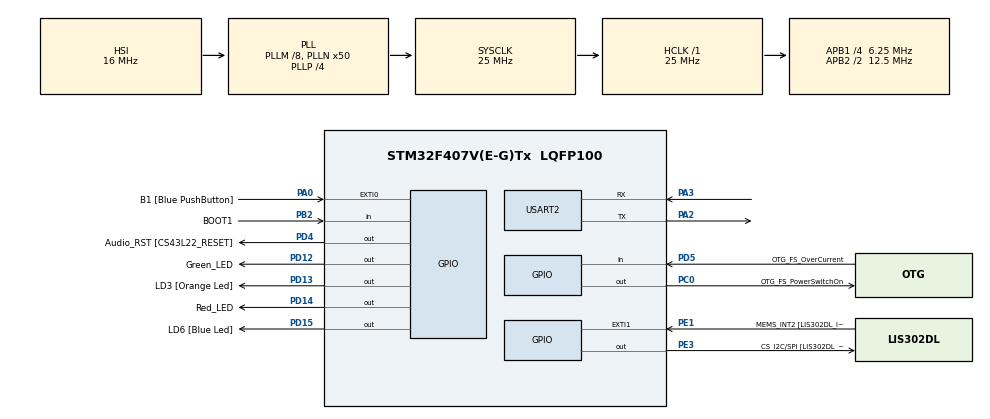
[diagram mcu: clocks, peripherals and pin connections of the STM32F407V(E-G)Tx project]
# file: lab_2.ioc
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Mcu.Family=STM32F4
Mcu.Name=STM32F407V(E-G)Tx
Mcu.Package=LQFP100
NVIC.PriorityGroup=NVIC_PRIORITYGROUP_4
NVIC.TIM7_IRQn=true\:15\:0\:false\:false\:true\:false\:true\:true
NVIC.TimeBase=TIM7_IRQn
NVIC.TimeBaseIP=TIM7
PA0-WKUP.GPIO_Label=B1 [Blue PushButton]
PA0-WKUP.Signal=GPXTI0
PA10.GPIO_Label=OTG_FS_ID
PA10.GPIO_Mode=GPIO_MODE_AF_PP
PA10.GPIO_PuPd=GPIO_NOPULL
PA10.GPIO_Speed=GPIO_SPEED_FREQ_LOW
PA10.Signal=USB_OTG_FS_ID
PA11.GPIO_Label=OTG_FS_DM
PA11.GPIO_Mode=GPIO_MODE_AF_PP
PA11.GPIO_PuPd=GPIO_NOPULL
PA11.GPIO_Speed=GPIO_SPEED_FREQ_LOW
PA11.Signal=USB_OTG_FS_DM
PA12.GPIO_Label=OTG_FS_DP
PA12.GPIO_Mode=GPIO_MODE_AF_PP
PA12.GPIO_PuPd=GPIO_NOPULL
PA12.GPIO_Speed=GPIO_SPEED_FREQ_LOW
PA12.Signal=USB_OTG_FS_DP
PA13.GPIO_Label=SWDIO
PA13.Mode=Serial_Wire
PA13.Signal=SYS_JTMS-SWDIO
PA14.GPIO_Label=SWCLK
PA14.Mode=Serial_Wire
PA14.Signal=SYS_JTCK-SWCLK
PA2.Mode=Asynchronous
PA2.Signal=USART2_TX
PA3.Mode=Asynchronous
PA3.Signal=USART2_RX
PA4.GPIO_Label=I2S3_WS [CS43L22_LRCK]
PA4.GPIO_Mode=GPIO_MODE_AF_PP
PA4.GPIO_PuPd=GPIO_NOPULL
PA4.GPIO_Speed=GPIO_SPEED_FREQ_LOW
PA4.Signal=I2S3_WS
PA5.GPIO_Label=SPI1_SCK [LIS302DL_SCL/SPC]
PA5.GPIO_Mode=GPIO_MODE_AF_PP
PA5.GPIO_PuPd=GPIO_NOPULL
PA5.GPIO_Speed=GPIO_SPEED_FREQ_LOW
PA5.Signal=SPI1_SCK
PA6.GPIO_Label=SPI1_MISO [LIS302DL_SDO]
PA6.GPIO_Mode=GPIO_MODE_AF_PP
PA6.GPIO_PuPd=GPIO_NOPULL
PA6.GPIO_Speed=GPIO_SPEED_FREQ_LOW
PA6.Signal=SPI1_MISO
PA7.GPIO_Label=SPI1_MOSI [LIS302DL_SDA/SDI/SDO]
PA7.GPIO_Mode=GPIO_MODE_AF_PP
PA7.GPIO_PuPd=GPIO_NOPULL
PA7.GPIO_Speed=GPIO_SPEED_FREQ_LOW
PA7.Signal=SPI1_MOSI
PA9.GPIO_Label=VBUS_FS
PA9.GPIO_Mode=GPIO_MODE_INPUT
PA9.GPIO_PuPd=GPIO_NOPULL
PA9.Signal=USB_OTG_FS_VBUS
PB10.GPIO_Label=CLK_IN [MP45DT02_CLK]
PB10.GPIO_Mode=GPIO_MODE_AF_PP
PB10.GPIO_PuPd=GPIO_NOPULL
PB10.GPIO_Speed=GPIO_SPEED_FREQ_LOW
PB10.Signal=I2S2_CK
PB2.GPIO_Label=BOOT1
PB2.GPIO_Mode=GPIO_MODE_INPUT
PB2.GPIO_PuPd=GPIO_NOPULL
PB2.Signal=GPIO_Input
PB3.GPIO_Label=SWO
PB3.Signal=SYS_JTDO-SWO
PB6.GPIO_Label=Audio_SCL [CS43L22_SCL]
PB6.GPIO_Mode=GPIO_MODE_AF_OD
PB6.GPIO_PuPd=GPIO_NOPULL
PB6.GPIO_Speed=GPIO_SPEED_FREQ_LOW
PB6.Signal=I2C1_SCL
PB9.GPIO_Label=Audio_SDA [CS43L22_SDA]
PB9.GPIO_Mode=GPIO_MODE_AF_OD
PB9.GPIO_PuPd=GPIO_NOPULL
PB9.GPIO_Speed=GPIO_SPEED_FREQ_LOW
PB9.Signal=I2C1_SDA
PC0.GPIO_Label=OTG_FS_PowerSwitchOn
PC0.GPIO_PuPd=GPIO_NOPULL
PC0.GPIO_Speed=GPIO_SPEED_FREQ_LOW
PC0.PinState=GPIO_PIN_SET
PC0.Signal=GPIO_Output
PC10.GPIO_Label=I2S3_SCK [CS43L22_SCLK]
PC10.GPIO_Mode=GPIO_MODE_AF_PP
PC10.GPIO_PuPd=GPIO_NOPULL
PC10.GPIO_Speed=GPIO_SPEED_FREQ_LOW
PC10.Signal=I2S3_CK
PC12.GPIO_Label=I2S3_SD [CS43L22_SDIN]
PC12.GPIO_Mode=GPIO_MODE_AF_PP
PC12.GPIO_PuPd=GPIO_NOPULL
PC12.GPIO_Speed=GPIO_SPEED_FREQ_LOW
PC12.Signal=I2S3_SD
PC14-OSC32_IN.GPIO_Label=PC14-OSC32_IN
PC14-OSC32_IN.Signal=RCC_OSC32_IN
PC15-OSC32_OUT.GPIO_Label=PC15-OSC32_OUT
PC15-OSC32_OUT.Signal=RCC_OSC32_OUT
PC3.GPIO_Label=PDM_OUT [MP45DT02_DOUT]
PC3.GPIO_Mode=GPIO_MODE_AF_PP
PC3.GPIO_PuPd=GPIO_NOPULL
PC3.GPIO_Speed=GPIO_SPEED_FREQ_LOW
PC3.Signal=I2S2_SD
PC7.GPIO_Label=I2S3_MCK [CS43L22_MCLK]
PC7.GPIO_Mode=GPIO_MODE_AF_PP
PC7.GPIO_PuPd=GPIO_NOPULL
PC7.GPIO_Speed=GPIO_SPEED_FREQ_LOW
PC7.Signal=I2S3_MCK
PD12.GPIO_Label=Green_LED
PD12.GPIO_PuPd=GPIO_NOPULL
PD12.GPIO_Speed=GPIO_SPEED_FREQ_LOW
PD12.Signal=GPIO_Output
PD13.GPIO_Label=LD3 [Orange Led]
PD13.GPIO_PuPd=GPIO_NOPULL
PD13.GPIO_Speed=GPIO_SPEED_FREQ_LOW
PD13.Signal=GPIO_Output
PD14.GPIO_Label=Red_LED
PD14.GPIO_PuPd=GPIO_NOPULL
PD14.GPIO_Speed=GPIO_SPEED_FREQ_LOW
PD14.Signal=GPIO_Output
PD15.GPIO_Label=LD6 [Blue Led]
PD15.GPIO_PuPd=GPIO_NOPULL
PD15.GPIO_Speed=GPIO_SPEED_FREQ_LOW
PD15.Signal=GPIO_Output
PD4.GPIO_Label=Audio_RST [CS43L22_RESET]
PD4.GPIO_PuPd=GPIO_NOPULL
PD4.GPIO_Speed=GPIO_SPEED_FREQ_LOW
PD4.Signal=GPIO_Output
PD5.GPIO_Label=OTG_FS_OverCurrent
PD5.GPIO_Mode=GPIO_MODE_INPUT
PD5.GPIO_PuPd=GPIO_NOPULL
PD5.Signal=GPIO_Input
PE1.GPIO_Label=MEMS_INT2 [LIS302DL_INT2]
PE1.GPIO_ModeDefaultEXTI=GPIO_MODE_EVT_RISING
PE1.GPIO_PuPd=GPIO_NOPULL
PE1.Signal=GPXTI1
PE3.GPIO_Label=CS_I2C/SPI [LIS302DL_CS_I2C/SPI]
PE3.GPIO_PuPd=GPIO_NOPULL
PE3.GPIO_Speed=GPIO_SPEED_FREQ_LOW
PE3.Signal=GPIO_Output
PH0-OSC_IN.GPIO_Label=PH0-OSC_IN
PH0-OSC_IN.Signal=RCC_OSC_IN
PH1-OSC_OUT.GPIO_Label=PH1-OSC_OUT
PH1-OSC_OUT.Signal=RCC_OSC_OUT
ProjectManager.HeapSize=0x200
ProjectManager.StackSize=0x400
ProjectManager.TargetToolchain=STM32CubeIDE
RCC.48MHZClocksFreq_Value=14285714.285714285
RCC.AHBFreq_Value=25000000
RCC.APB1CLKDivider=RCC_HCLK_DIV4
RCC.APB1Freq_Value=6250000
RCC.APB1TimFreq_Value=12500000
RCC.APB2CLKDivider=RCC_HCLK_DIV2
RCC.APB2Freq_Value=12500000
RCC.APB2TimFreq_Value=25000000
RCC.CortexFreq_Value=25000000
RCC.HCLKFreq_Value=25000000
RCC.HSE_VALUE=8000000
RCC.HSI_VALUE=16000000
RCC.LSE_VALUE=32768
RCC.PLLM=8
RCC.PLLN=50
RCC.PLLP=RCC_PLLP_DIV4
RCC.PLLQ=7
RCC.SYSCLKFreq_VALUE=25000000
RCC.SYSCLKSource=RCC_SYSCLKSOURCE_PLLCLK
RCC.VCOOutputFreq_Value=100000000
USART2.VirtualMode=VM_ASYNC
VP_SYS_VS_tim7.Mode=TIM7
board=STM32F407G-DISC1

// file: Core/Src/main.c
/* USER CODE BEGIN Header */
/**
  ******************************************************************************
  * @file           : main.c
  * @brief          : Main program body
  ******************************************************************************
  * @attention
  *
  * Copyright (c) 2025 STMicroelectronics.
  * All rights reserved.
  *
  * This software is licensed under terms that can be found in the LICENSE file
  * in the root directory of this software component.
  * If no LICENSE file comes with this software, it is provided AS-IS.
  *
  ******************************************************************************
  */
/* USER CODE END Header */
#include "main.h"

/* USER CODE BEGIN Includes */
#include "FreeRTOS.h"
#include "task.h"
/* USER CODE END Includes */

UART_HandleTypeDef huart2;

void SystemClock_Config(void);
static void MX_GPIO_Init(void);
static void MX_USART2_UART_Init(void);
void TaskMonitor_App(void *pvParameters);
void Red_LED_App(void *pvParameters);
void Green_LED_App(void *pvParameters);
void Delay_App(void *pvParameters);

/* USER CODE BEGIN 0 */
void TaskMonitor_App(void *pvParameters)
{
  for(;;)
  {
    Taskmonitor();
    vTaskDelay(1000);
  }
}

void Red_LED_App(void *pvParameters)
{
  uint32_t Redtimer = 800;
   for(;;)
   {
     HAL_GPIO_TogglePin(GPIOD,Red_LED_Pin);
     vTaskDelay(Redtimer);
     Redtimer+=1;
   }
 }

void Green_LED_App(void *pvParameters)
{
  uint32_t Greentimer = 1000;
  for(;;)
  {
    HAL_GPIO_TogglePin(GPIOD,Green_LED_Pin);
    vTaskDelay(Greentimer);
    Greentimer+=2;
  }
}

void Delay_App(void *pvParameters)
{
  int delayflag=0;
  uint32_t delaytime;
  while(1)
  {
    if(delayflag==0)
    {
      delaytime = 1000;
	  delayflag=1;
	}
    else
    {
      delaytime=0xFFFFFFFF;
    }
    vTaskDelay(delaytime);
  }
}

/* USER CODE END 0 */

int main(void)
{

  /* MCU Configuration--------------------------------------------------------*/

  /* Reset of all peripherals, Initializes the Flash interface and the Systick. */
  HAL_Init();

  /* Configure the system clock */
  SystemClock_Config();

  /* Initialize all configured peripherals */
  MX_GPIO_Init();
  MX_USART2_UART_Init();
  /* USER CODE BEGIN 2 */
  TaskHandle_t xTaskMonitorAPPHandle= NULL;
  TaskHandle_t xTaskRedLEDAPPHandle = NULL;
  TaskHandle_t xTaskGreenLEDAPPHandle = NULL;
  TaskHandle_t xTaskDelayAPPHandle = NULL;
  xTaskCreate(TaskMonitor_App, "TaskMonitor_App", 512, NULL,3, &xTaskMonitorAPPHandle);
  xTaskCreate(Red_LED_App, "Red_LED_App", 128, NULL, 1, &xTaskRedLEDAPPHandle);
  xTaskCreate(Green_LED_App, "Green_LED_App", 128, NULL, 1, &xTaskGreenLEDAPPHandle);
  xTaskCreate(Delay_App, "Delay_App", 128, NULL, 14, &xTaskDelayAPPHandle);
  vTaskStartScheduler();
  /* USER CODE END 2 */

  /* Infinite loop */
  while (1)
  {

  }
}

void SystemClock_Config(void)
{
  RCC_OscInitTypeDef RCC_OscInitStruct = {0};
  RCC_ClkInitTypeDef RCC_ClkInitStruct = {0};

  /** Configure the main internal regulator output voltage
  */
  __HAL_RCC_PWR_CLK_ENABLE();
  __HAL_PWR_VOLTAGESCALING_CONFIG(PWR_REGULATOR_VOLTAGE_SCALE1);

  /** Initializes the RCC Oscillators according to the specified parameters
  * in the RCC_OscInitTypeDef structure.
  */
  RCC_OscInitStruct.OscillatorType = RCC_OSCILLATORTYPE_HSI;
  RCC_OscInitStruct.HSIState = RCC_HSI_ON;
  RCC_OscInitStruct.HSICalibrationValue = RCC_HSICALIBRATION_DEFAULT;
  RCC_OscInitStruct.PLL.PLLState = RCC_PLL_ON;
  RCC_OscInitStruct.PLL.PLLSource = RCC_PLLSOURCE_HSI;
  RCC_OscInitStruct.PLL.PLLM = 8;
  RCC_OscInitStruct.PLL.PLLN = 50;
  RCC_OscInitStruct.PLL.PLLP = RCC_PLLP_DIV4;
  RCC_OscInitStruct.PLL.PLLQ = 7;
  if (HAL_RCC_OscConfig(&RCC_OscInitStruct) != HAL_OK)
  {
    Error_Handler();
  }

  /** Initializes the CPU, AHB and APB buses clocks
  */
  RCC_ClkInitStruct.ClockType = RCC_CLOCKTYPE_HCLK|RCC_CLOCKTYPE_SYSCLK
                              |RCC_CLOCKTYPE_PCLK1|RCC_CLOCKTYPE_PCLK2;
  RCC_ClkInitStruct.SYSCLKSource = RCC_SYSCLKSOURCE_PLLCLK;
  RCC_ClkInitStruct.AHBCLKDivider = RCC_SYSCLK_DIV1;
  RCC_ClkInitStruct.APB1CLKDivider = RCC_HCLK_DIV4;
  RCC_ClkInitStruct.APB2CLKDivider = RCC_HCLK_DIV2;

  if (HAL_RCC_ClockConfig(&RCC_ClkInitStruct, FLASH_LATENCY_0) != HAL_OK)
  {
    Error_Handler();
  }
}

static void MX_USART2_UART_Init(void)
{

  huart2.Instance = USART2;
  huart2.Init.BaudRate = 115200;
  huart2.Init.WordLength = UART_WORDLENGTH_8B;
  huart2.Init.StopBits = UART_STOPBITS_1;
  huart2.Init.Parity = UART_PARITY_NONE;
  huart2.Init.Mode = UART_MODE_TX_RX;
  huart2.Init.HwFlowCtl = UART_HWCONTROL_NONE;
  huart2.Init.OverSampling = UART_OVERSAMPLING_16;
  if (HAL_UART_Init(&huart2) != HAL_OK)
  {
    Error_Handler();
  }

}

static void MX_GPIO_Init(void)
{
  GPIO_InitTypeDef GPIO_InitStruct = {0};

  /* GPIO Ports Clock Enable */
  __HAL_RCC_GPIOE_CLK_ENABLE();
  __HAL_RCC_GPIOC_CLK_ENABLE();
  __HAL_RCC_GPIOH_CLK_ENABLE();
  __HAL_RCC_GPIOA_CLK_ENABLE();
  __HAL_RCC_GPIOB_CLK_ENABLE();
  __HAL_RCC_GPIOD_CLK_ENABLE();

  /*Configure GPIO pin Output Level */
  HAL_GPIO_WritePin(CS_I2C_SPI_GPIO_Port, CS_I2C_SPI_Pin, GPIO_PIN_RESET);

  /*Configure GPIO pin Output Level */
  HAL_GPIO_WritePin(OTG_FS_PowerSwitchOn_GPIO_Port, OTG_FS_PowerSwitchOn_Pin, GPIO_PIN_SET);

  /*Configure GPIO pin Output Level */
  HAL_GPIO_WritePin(GPIOD, Green_LED_Pin|LD3_Pin|Red_LED_Pin|LD6_Pin
                          |Audio_RST_Pin, GPIO_PIN_RESET);

  /*Configure GPIO pin : CS_I2C_SPI_Pin */
  GPIO_InitStruct.Pin = CS_I2C_SPI_Pin;
  GPIO_InitStruct.Mode = GPIO_MODE_OUTPUT_PP;
  GPIO_InitStruct.Pull = GPIO_NOPULL;
  GPIO_InitStruct.Speed = GPIO_SPEED_FREQ_LOW;
  HAL_GPIO_Init(CS_I2C_SPI_GPIO_Port, &GPIO_InitStruct);

  /*Configure GPIO pin : OTG_FS_PowerSwitchOn_Pin */
  GPIO_InitStruct.Pin = OTG_FS_PowerSwitchOn_Pin;
  GPIO_InitStruct.Mode = GPIO_MODE_OUTPUT_PP;
  GPIO_InitStruct.Pull = GPIO_NOPULL;
  GPIO_InitStruct.Speed = GPIO_SPEED_FREQ_LOW;
  HAL_GPIO_Init(OTG_FS_PowerSwitchOn_GPIO_Port, &GPIO_InitStruct);

  /*Configure GPIO pin : PDM_OUT_Pin */
  GPIO_InitStruct.Pin = PDM_OUT_Pin;
  GPIO_InitStruct.Mode = GPIO_MODE_AF_PP;
  GPIO_InitStruct.Pull = GPIO_NOPULL;
  GPIO_InitStruct.Speed = GPIO_SPEED_FREQ_LOW;
  GPIO_InitStruct.Alternate = GPIO_AF5_SPI2;
  HAL_GPIO_Init(PDM_OUT_GPIO_Port, &GPIO_InitStruct);

  /*Configure GPIO pin : B1_Pin */
  GPIO_InitStruct.Pin = B1_Pin;
  GPIO_InitStruct.Mode = GPIO_MODE_IT_RISING;
  GPIO_InitStruct.Pull = GPIO_NOPULL;
  HAL_GPIO_Init(B1_GPIO_Port, &GPIO_InitStruct);

  /*Configure GPIO pin : I2S3_WS_Pin */
  GPIO_InitStruct.Pin = I2S3_WS_Pin;
  GPIO_InitStruct.Mode = GPIO_MODE_AF_PP;
  GPIO_InitStruct.Pull = GPIO_NOPULL;
  GPIO_InitStruct.Speed = GPIO_SPEED_FREQ_LOW;
  GPIO_InitStruct.Alternate = GPIO_AF6_SPI3;
  HAL_GPIO_Init(I2S3_WS_GPIO_Port, &GPIO_InitStruct);

  /*Configure GPIO pins : SPI1_SCK_Pin SPI1_MISO_Pin SPI1_MOSI_Pin */
  GPIO_InitStruct.Pin = SPI1_SCK_Pin|SPI1_MISO_Pin|SPI1_MOSI_Pin;
  GPIO_InitStruct.Mode = GPIO_MODE_AF_PP;
  GPIO_InitStruct.Pull = GPIO_NOPULL;
  GPIO_InitStruct.Speed = GPIO_SPEED_FREQ_LOW;
  GPIO_InitStruct.Alternate = GPIO_AF5_SPI1;
  HAL_GPIO_Init(GPIOA, &GPIO_InitStruct);

  /*Configure GPIO pin : BOOT1_Pin */
  GPIO_InitStruct.Pin = BOOT1_Pin;
  GPIO_InitStruct.Mode = GPIO_MODE_INPUT;
  GPIO_InitStruct.Pull = GPIO_NOPULL;
  HAL_GPIO_Init(BOOT1_GPIO_Port, &GPIO_InitStruct);

  /*Configure GPIO pin : CLK_IN_Pin */
  GPIO_InitStruct.Pin = CLK_IN_Pin;
  GPIO_InitStruct.Mode = GPIO_MODE_AF_PP;
  GPIO_InitStruct.Pull = GPIO_NOPULL;
  GPIO_InitStruct.Speed = GPIO_SPEED_FREQ_LOW;
  GPIO_InitStruct.Alternate = GPIO_AF5_SPI2;
  HAL_GPIO_Init(CLK_IN_GPIO_Port, &GPIO_InitStruct);

  /*Configure GPIO pins : Green_LED_Pin LD3_Pin Red_LED_Pin LD6_Pin
                           Audio_RST_Pin */
  GPIO_InitStruct.Pin = Green_LED_Pin|LD3_Pin|Red_LED_Pin|LD6_Pin
                          |Audio_RST_Pin;
  GPIO_InitStruct.Mode = GPIO_MODE_OUTPUT_PP;
  GPIO_InitStruct.Pull = GPIO_NOPULL;
  GPIO_InitStruct.Speed = GPIO_SPEED_FREQ_LOW;
  HAL_GPIO_Init(GPIOD, &GPIO_InitStruct);

  /*Configure GPIO pins : I2S3_MCK_Pin I2S3_SCK_Pin I2S3_SD_Pin */
  GPIO_InitStruct.Pin = I2S3_MCK_Pin|I2S3_SCK_Pin|I2S3_SD_Pin;
  GPIO_InitStruct.Mode = GPIO_MODE_AF_PP;
  GPIO_InitStruct.Pull = GPIO_NOPULL;
  GPIO_InitStruct.Speed = GPIO_SPEED_FREQ_LOW;
  GPIO_InitStruct.Alternate = GPIO_AF6_SPI3;
  HAL_GPIO_Init(GPIOC, &GPIO_InitStruct);

  /*Configure GPIO pin : VBUS_FS_Pin */
  GPIO_InitStruct.Pin = VBUS_FS_Pin;
  GPIO_InitStruct.Mode = GPIO_MODE_INPUT;
  GPIO_InitStruct.Pull = GPIO_NOPULL;
  HAL_GPIO_Init(VBUS_FS_GPIO_Port, &GPIO_InitStruct);

  /*Configure GPIO pins : OTG_FS_ID_Pin OTG_FS_DM_Pin OTG_FS_DP_Pin */
  GPIO_InitStruct.Pin = OTG_FS_ID_Pin|OTG_FS_DM_Pin|OTG_FS_DP_Pin;
  GPIO_InitStruct.Mode = GPIO_MODE_AF_PP;
  GPIO_InitStruct.Pull = GPIO_NOPULL;
  GPIO_InitStruct.Speed = GPIO_SPEED_FREQ_LOW;
  GPIO_InitStruct.Alternate = GPIO_AF10_OTG_FS;
  HAL_GPIO_Init(GPIOA, &GPIO_InitStruct);

  /*Configure GPIO pin : OTG_FS_OverCurrent_Pin */
  GPIO_InitStruct.Pin = OTG_FS_OverCurrent_Pin;
  GPIO_InitStruct.Mode = GPIO_MODE_INPUT;
  GPIO_InitStruct.Pull = GPIO_NOPULL;
  HAL_GPIO_Init(OTG_FS_OverCurrent_GPIO_Port, &GPIO_InitStruct);

  /*Configure GPIO pins : Audio_SCL_Pin Audio_SDA_Pin */
  GPIO_InitStruct.Pin = Audio_SCL_Pin|Audio_SDA_Pin;
  GPIO_InitStruct.Mode = GPIO_MODE_AF_OD;
  GPIO_InitStruct.Pull = GPIO_NOPULL;
  GPIO_InitStruct.Speed = GPIO_SPEED_FREQ_LOW;
  GPIO_InitStruct.Alternate = GPIO_AF4_I2C1;
  HAL_GPIO_Init(GPIOB, &GPIO_InitStruct);

  /*Configure GPIO pin : MEMS_INT2_Pin */
  GPIO_InitStruct.Pin = MEMS_INT2_Pin;
  GPIO_InitStruct.Mode = GPIO_MODE_EVT_RISING;
  GPIO_InitStruct.Pull = GPIO_NOPULL;
  HAL_GPIO_Init(MEMS_INT2_GPIO_Port, &GPIO_InitStruct);

}

void HAL_TIM_PeriodElapsedCallback(TIM_HandleTypeDef *htim)
{
  if (htim->Instance == TIM7)
  {
    HAL_IncTick();
  }
}

void Error_Handler(void)
{
  __disable_irq();
  while (1)
  {
  }
}
